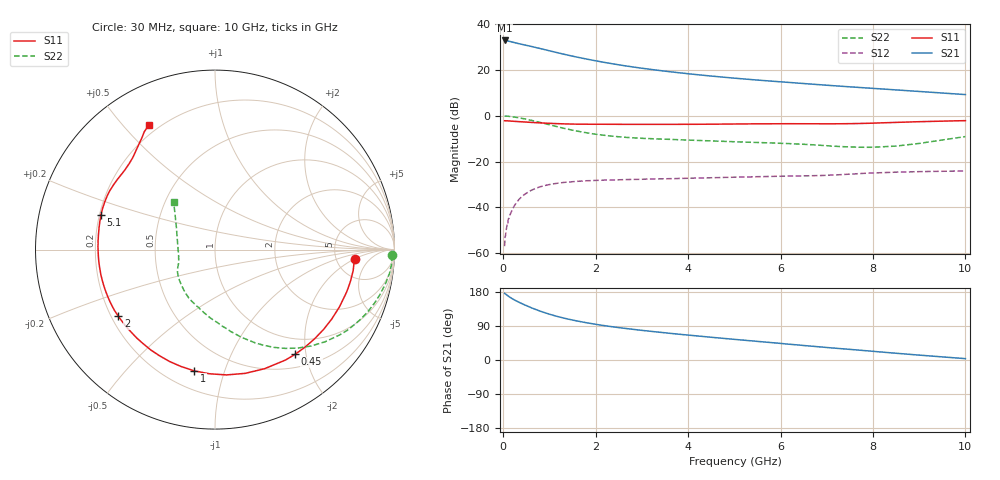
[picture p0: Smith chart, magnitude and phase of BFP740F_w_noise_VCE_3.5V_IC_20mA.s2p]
! Infineon Technologies  Discrete & RF Semiconductors
! BFP740F
! VCE =  3.5 V,  IC =  20 mA
! Common Emitter S-Parameters:  Oct 2012
# GHz  S  MA  R  50
!  f  S11  S21  S12  S22
! GHz  MAG  ANG  MAG  ANG  MAG  ANG  MAG  ANG
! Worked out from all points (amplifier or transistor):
!   99 points, 30 MHz to 10 GHz, reference 50 ohm
!   highest |S21| = 33.0 dB at 30 MHz (marker M1)
!   |S21| within 3 dB of that: start of sweep to 686.7 MHz
!   unconditionally stable (mu >= 1): 5.896 GHz to end of sweep
!   at 350 MHz: K = 0.15, MSG = 34.0 dB, |S12| = -36.4 dB
!   at 3.5 GHz: K = 0.68, MSG = 23.6 dB, |S12| = -27.6 dB
!   at 10 GHz: K = 1.20, MAG = 14.0 dB, |S12| = -24.2 dB
!   lowest NFmin = 0.64 dB at 450 MHz
!   S11 on the Smith chart (normalised r, x): 30 MHz: 7.59, -1.95; 450 MHz: 0.71, -1.81; 1 GHz: 0.31, -0.80; 2 GHz: 0.23, -0.30; 5.1 GHz: 0.21, +0.14; 10 GHz: 0.16, +0.59
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0.03  0.7802 -3.7  44.71 175.8  0.0014 82.1  0.985 -1.9
0.05  0.7778 -6.2  44.66 174.1  0.0024 94.3  0.9856 -3.6
0.11  0.7742 -13.9  43.32 168.5  0.0055 80.4  0.9778 -8.6
0.15  0.7689 -18.9  42.41 165.1  0.0069 79.3  0.9674 -11.6
0.2  0.7633 -24.8  41.06 161.4  0.0091 75.6  0.953 -15.2
0.3  0.751 -36.3  38.81 154.9  0.0132 71.6  0.9194 -22.0
0.45  0.7346 -52.5  35.91 146.2  0.0186 64.2  0.8634 -31.4
0.6  0.7188 -67.4  33.2 138.3  0.0232 57.5  0.8003 -39.9
0.7  0.7098 -76.3  31.42 133.5  0.0258 53.9  0.7584 -45.1
0.8  0.7011 -84.8  29.74 128.9  0.028 50.1  0.7164 -50.0
1  0.6855 -99.6  26.57 120.9  0.0313 44.0  0.6371 -58.8
1.3  0.6673 -117.6  22.5 110.9  0.0347 37.1  0.5365 -69.9
1.5  0.6597 -127.2  20.26 105.4  0.0361 33.8  0.4848 -76.3
1.7  0.6555 -135.4  18.37 100.6  0.0372 31.2  0.4424 -82.1
2  0.654 -145.5  16.05 94.3  0.0386 28.1  0.3964 -90.4
2.6  0.6515 -160.5  12.62 84.0  0.04 24.5  0.3416 -104.1
3.4  0.6507 -174.5  9.784 73.0  0.0418 22.5  0.3106 -116.7
4.2  0.6535 174.3  7.96 63.5  0.0434 21.8  0.2898 -125.4
5.1  0.6639 163.3  6.555 53.4  0.0455 21.5  0.2686 -135.2
6.7  0.6697 145.3  4.921 36.2  0.0489 21.6  0.2319 -153.7
8.5  0.7182 126.7  3.695 17.8  0.0584 20.0  0.2176 164.9
10  0.7845 118.1  2.917 3.6  0.0619 15.2  0.3514 131.0
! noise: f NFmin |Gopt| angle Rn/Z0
0.45  0.64  0.06  8  1.06
0.9  0.67  0.07  22  0.67
1.5  0.72  0.07  40  0.48
1.9  0.75  0.07  56  0.4
2.4  0.8  0.07  74  0.41
3.5  0.9  0.06  94  0.37
5.5  1.08  0.09  -158  0.31
10  1.47  0.39  -107  0.12
